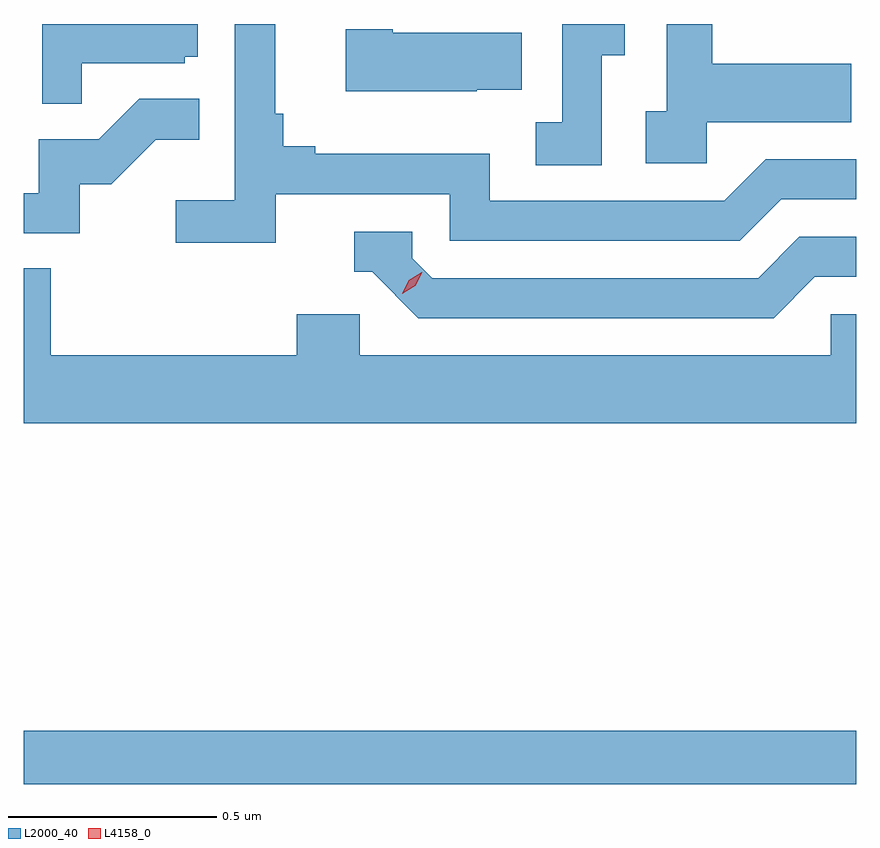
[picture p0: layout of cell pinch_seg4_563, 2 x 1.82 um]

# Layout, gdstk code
import gdstk
lib = gdstk.Library(unit=1e-6, precision=1e-09)
def R(c, l, rs):  # rectangles x0, y0, x1, y1
    for r in rs: c.add(gdstk.rectangle(r[:2], r[2:], *l))
def P(c, l, *ps):  # polygons
    for p in ps: c.add(gdstk.Polygon(p, *l))
L2000_40 = (2000, 40)
L4158_0 = (4158, 0)

pinch_seg4_563 = lib.new_cell('pinch_seg4_563')
R(pinch_seg4_563, L2000_40, [(1108.371,787.962,1110.371,788.09)])
P(pinch_seg4_563, L2000_40, [(1110.012,789.551),(1110.359,789.551),(1110.359,789.691),(1110.025,789.691),(1110.025,789.787),(1109.916,789.787),(1109.916,789.578),(1109.865,789.578),(1109.865,789.453),(1110.012,789.453)],
  [(1108.511,789.693),(1108.758,789.693),(1108.758,789.708),(1108.789,789.708),(1108.789,789.787),(1108.416,789.787),(1108.416,789.595),(1108.511,789.595)],
  [(1109.76,789.712),(1109.815,789.712),(1109.815,789.787),(1109.664,789.787),(1109.664,789.551),(1109.601,789.551),(1109.601,789.448),(1109.76,789.448)],
  [(1108.976,789.378),(1109.394,789.378),(1109.394,789.267),(1110.091,789.267),(1110.19,789.366),(1110.371,789.366),(1110.371,789.462),(1110.153,789.462),(1110.054,789.363),(1109.49,789.363),(1109.49,789.475),(1109.071,789.475),(1109.071,789.494),(1108.994,789.494),(1108.994,789.571),(1108.975,789.571),(1108.975,789.787),(1108.878,789.787),(1108.878,789.364),(1108.737,789.364),(1108.737,789.262),(1108.976,789.262)],
  [(1109.459,789.629),(1109.567,789.629),(1109.567,789.766),(1109.257,789.766),(1109.257,789.774),(1109.145,789.774),(1109.145,789.626),(1109.459,789.626)],
  [(1108.506,789.402),(1108.582,789.402),(1108.689,789.509),(1108.793,789.509),(1108.793,789.608),(1108.649,789.608),(1108.551,789.51),(1108.407,789.51),(1108.407,789.381),(1108.371,789.381),(1108.371,789.285),(1108.506,789.285)],
  [(1110.271,789.18),(1110.371,789.18),(1110.371,789.276),(1110.234,789.276),(1110.135,789.177),(1109.352,789.177),(1109.304,789.225),(1109.304,789.288),(1109.165,789.288),(1109.165,789.192),(1109.208,789.192),(1109.319,789.081),(1110.172,789.081)],
  [(1110.371,789.09),(1110.309,789.09),(1110.309,788.992),(1109.178,788.992),(1109.178,789.09),(1109.027,789.09),(1109.027,788.992),(1108.436,788.992),(1108.436,789.2),(1108.371,789.2),(1108.371,788.828),(1110.371,788.828)])
P(pinch_seg4_563, L4158_0, [(1109.28,789.139),(1109.28,789.139),(1109.296,789.172),(1109.327,789.191),(1109.328,789.191),(1109.328,789.191),(1109.311,789.158),(1109.28,789.139)])

lib.write_gds('pinch_seg4_563.gds')
